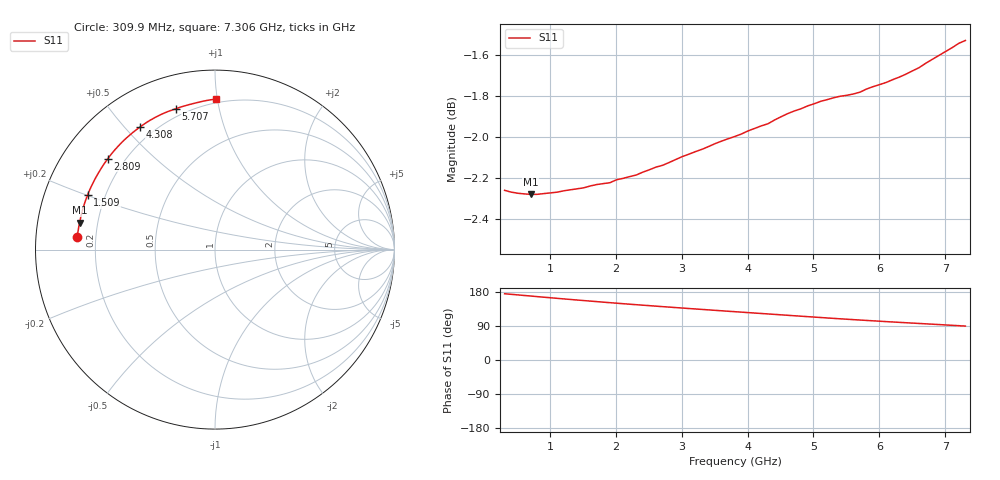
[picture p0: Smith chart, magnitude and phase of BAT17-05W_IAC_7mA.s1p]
! Infineon Technologies  Discrete & RF Semiconductors
! BAT17-05W
! IAC = 7 mA
! One-Port S-Parameters
# Hz  S  MA  R  50
!f  S11
!Hz  Mag  Ang
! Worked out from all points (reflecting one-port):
!   71 points, 309.9 MHz to 7.306 GHz, reference 50 ohm
!   lowest |S11| = -2.3 dB at 709.6 MHz (marker M1), VSWR 7.67, Z = 6.58 + j4.84 ohm
!   phase of S11 starts at 175 deg and turns -85 deg over the sweep
!   S11 on the Smith chart (normalised r, x): 309.9 MHz: 0.13, +0.04; 1.509 GHz: 0.13, +0.20; 2.809 GHz: 0.14, +0.36; 4.308 GHz: 0.15, +0.55; 5.707 GHz: 0.16, +0.75; 7.306 GHz: 0.18, +0.99
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3.0985e8  0.771 174.9
7.0965e8  0.7692 168.7
9.0955e8  0.7696 165.7
1.2094e9  0.7708 161.2
1.50925e9  0.7721 156.9
1.8091e9  0.7739 152.6
2.10895e9  0.7762 148.6
2.2089e9  0.777 147.2
2.50875e9  0.7799 143.4
2.8086e9  0.7831 139.6
3.0085e9  0.7857 137.1
3.30835e9  0.7889 133.4
3.50825e9  0.7914 131.0
3.8081e9  0.7946 127.4
4.008e9  0.7971 125.1
4.30785e9  0.8003 121.6
4.50775e9  0.8034 119.2
4.70765e9  0.806 116.8
4.90755e9  0.8083 114.5
5.2074e9  0.8111 110.9
5.4073e9  0.8127 108.7
5.6072e9  0.8137 106.5
5.70715e9  0.8146 105.5
6.007e9  0.818 102.3
6.50675e9  0.8244 97.4
6.90655e9  0.8315 93.5
7.2064e9  0.8371 90.5
7.30635e9  0.8385 89.5
